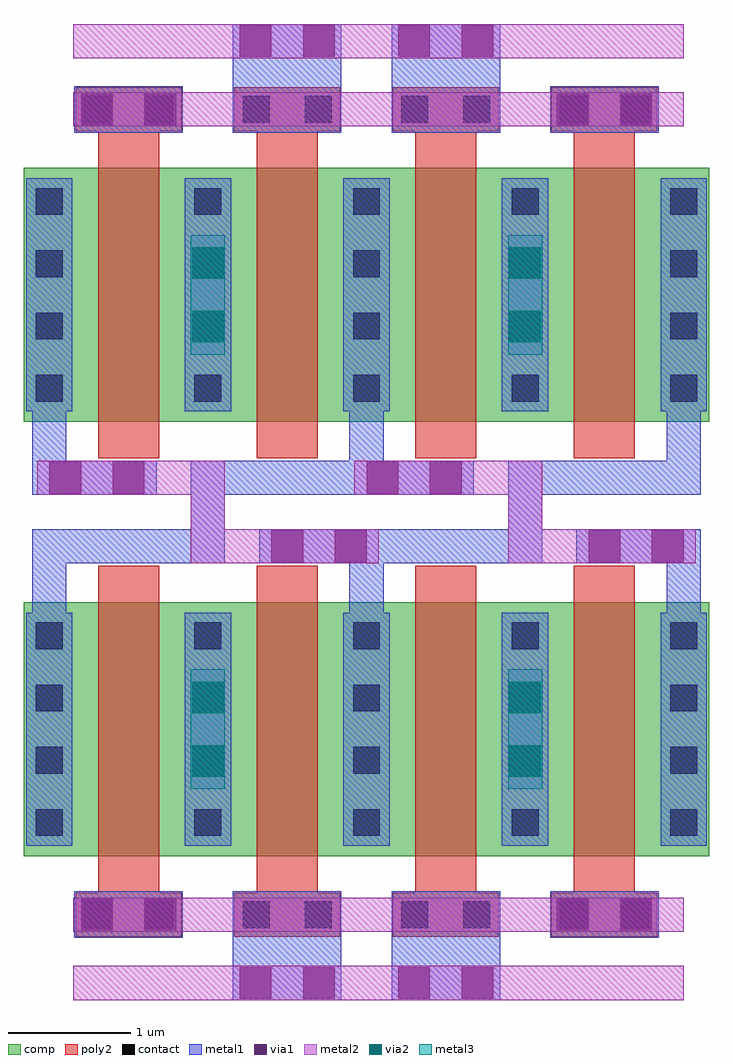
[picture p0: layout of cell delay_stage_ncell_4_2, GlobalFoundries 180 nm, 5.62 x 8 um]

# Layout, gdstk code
import gdstk
lib = gdstk.Library(unit=1e-6, precision=5e-09)
def R(c, l, rs):  # rectangles x0, y0, x1, y1
    for r in rs: c.add(gdstk.rectangle(r[:2], r[2:], *l))
def A(c, l, x, y, w, h, nx, ny, dx, dy):  # array of equal rectangles
    R(c, l, [(x+i*dx, y+j*dy, x+i*dx+w, y+j*dy+h) for i in range(nx) for j in range(ny)])
comp = (22, 0)
poly2 = (30, 0)
contact = (33, 0)
metal1 = (34, 0)
via1 = (35, 0)
metal2 = (36, 0)
via2 = (38, 0)
metal3 = (42, 0)

delay_stage_ncell_1_1 = lib.new_cell('delay_stage_ncell_1$1')
R(delay_stage_ncell_1_1, comp, [(0,0.3,0.42,2.38), (0.42,0.3,1.3,2.38), (1.3,0.3,1.72,2.38)])
R(delay_stage_ncell_1_1, poly2, [(0.61,0,1.11,2.68)])
A(delay_stage_ncell_1_1, contact, 0.1, 0.465, 0.22, 0.22, 1, 4, 0, 0.51)
A(delay_stage_ncell_1_1, contact, 1.4, 0.465, 0.22, 0.22, 1, 4, 0, 0.51)
R(delay_stage_ncell_1_1, metal1, [(0.02,0.385,0.4,2.295), (1.32,0.385,1.7,2.295)])

delay_stage_ncell_4 = lib.new_cell('delay_stage_ncell_4')
A(delay_stage_ncell_4, poly2, 0.425, 2.675, 0.87, 0.36, 4, 1, 1.3, 0)
R(delay_stage_ncell_4, contact, [(0.495,2.745,0.715,2.965), (1.005,2.745,1.225,2.965), (1.795,2.745,2.015,2.965), (2.305,2.745,2.525,2.965), (3.095,2.745,3.315,2.965), (3.605,2.745,3.825,2.965), (4.395,2.745,4.615,2.965), (4.905,2.745,5.125,2.965)])
A(delay_stage_ncell_4, metal1, 0.415, 2.665, 0.89, 0.38, 4, 1, 1.3, 0)
delay_stage_ncell_4.add(gdstk.Reference(delay_stage_ncell_1_1, (0,-0.005)))
delay_stage_ncell_4.add(gdstk.Reference(delay_stage_ncell_1_1, (1.3,-0.005)))
delay_stage_ncell_4.add(gdstk.Reference(delay_stage_ncell_1_1, (2.6,-0.005)))
delay_stage_ncell_4.add(gdstk.Reference(delay_stage_ncell_1_1, (3.9,-0.005)))

delay_stage_ncell_4_2 = lib.new_cell('delay_stage_ncell_4_2')
R(delay_stage_ncell_4_2, metal1, [(1.715,0,2.605,0.51), (3.015,0,3.905,0.51), (1.715,7.49,2.605,8), (3.015,7.49,3.905,8)])
R(delay_stage_ncell_4_2, via1, [(1.77,0.01,2.03,0.27), (2.29,0.01,2.55,0.27), (3.07,0.01,3.33,0.27), (3.59,0.01,3.85,0.27), (0.47,0.57,0.73,0.83), (0.99,0.57,1.25,0.83), (4.37,0.57,4.63,0.83), (4.89,0.57,5.15,0.83), (1.38,1.83,1.64,2.09), (3.98,1.83,4.24,2.09), (1.38,2.35,1.64,2.61), (3.98,2.35,4.24,2.61), (2.03,3.59,2.29,3.85), (2.55,3.59,2.81,3.85), (4.63,3.59,4.89,3.85), (5.15,3.59,5.41,3.85), (0.21,4.15,0.47,4.41), (0.73,4.15,0.99,4.41), (2.81,4.15,3.07,4.41), (3.33,4.15,3.59,4.41), (1.38,5.39,1.64,5.65), (3.98,5.39,4.24,5.65), (1.38,5.91,1.64,6.17), (3.98,5.91,4.24,6.17), (0.47,7.17,0.73,7.43), (0.99,7.17,1.25,7.43), (4.37,7.17,4.63,7.43), (4.89,7.17,5.15,7.43), (1.77,7.73,2.03,7.99), (2.29,7.73,2.55,7.99), (3.07,7.73,3.33,7.99), (3.59,7.73,3.85,7.99)])
R(delay_stage_ncell_4_2, via2, [(1.38,1.83,1.64,2.09), (3.98,1.83,4.24,2.09), (1.38,2.35,1.64,2.61), (3.98,2.35,4.24,2.61), (1.38,5.39,1.64,5.65), (3.98,5.39,4.24,5.65), (1.38,5.91,1.64,6.17), (3.98,5.91,4.24,6.17)])
delay_stage_ncell_4_2.add(gdstk.FlexPath([(2.81,4.825),(2.81,4.42)], 0.28, ends="flush", simple_path=True, layer=34, datatype=0))  # metal1
delay_stage_ncell_4_2.add(gdstk.FlexPath([(2.81,3.175),(2.81,3.58)], 0.28, ends="flush", simple_path=True, layer=34, datatype=0))  # metal1
delay_stage_ncell_4_2.add(gdstk.FlexPath([(0.21,3.175),(0.21,3.58)], 0.28, ends="flush", simple_path=True, layer=34, datatype=0))  # metal1
delay_stage_ncell_4_2.add(gdstk.FlexPath([(0.21,4.825),(0.21,4.42)], 0.28, ends="flush", simple_path=True, layer=34, datatype=0))  # metal1
delay_stage_ncell_4_2.add(gdstk.FlexPath([(2.91,4.28),(1.51,4.28),(1.51,3.72),(0.07,3.72)], 0.28, ends="flush", simple_path=True, layer=34, datatype=0))  # metal1
delay_stage_ncell_4_2.add(gdstk.FlexPath([(1.09,4.28),(0.07,4.28)], 0.28, ends="flush", simple_path=True, layer=34, datatype=0))  # metal1
delay_stage_ncell_4_2.add(gdstk.FlexPath([(5.41,3.175),(5.41,3.58)], 0.28, ends="flush", simple_path=True, layer=34, datatype=0))  # metal1
delay_stage_ncell_4_2.add(gdstk.FlexPath([(5.55,4.28),(4.11,4.28),(4.11,3.72),(2.71,3.72)], 0.28, ends="flush", simple_path=True, layer=34, datatype=0))  # metal1
delay_stage_ncell_4_2.add(gdstk.FlexPath([(3.69,4.28),(2.71,4.28)], 0.28, ends="flush", simple_path=True, layer=34, datatype=0))  # metal1
delay_stage_ncell_4_2.add(gdstk.FlexPath([(5.41,4.825),(5.41,4.42)], 0.28, ends="flush", simple_path=True, layer=34, datatype=0))  # metal1
delay_stage_ncell_4_2.add(gdstk.FlexPath([(2.81,3.175),(2.81,3.58)], 0.28, ends="flush", simple_path=True, layer=34, datatype=0))  # metal1
delay_stage_ncell_4_2.add(gdstk.FlexPath([(5.55,3.72),(4.53,3.72)], 0.28, ends="flush", simple_path=True, layer=34, datatype=0))  # metal1
delay_stage_ncell_4_2.add(gdstk.FlexPath([(2.81,4.825),(2.81,4.42)], 0.28, ends="flush", simple_path=True, layer=34, datatype=0))  # metal1
delay_stage_ncell_4_2.add(gdstk.FlexPath([(2.91,3.72),(1.93,3.72)], 0.28, ends="flush", simple_path=True, layer=34, datatype=0))  # metal1
delay_stage_ncell_4_2.add(gdstk.FlexPath([(5.41,7.3),(0.405,7.3)], 0.28, ends="flush", simple_path=True, layer=36, datatype=0))  # metal2
delay_stage_ncell_4_2.add(gdstk.FlexPath([(5.41,7.86),(0.405,7.86)], 0.28, ends="flush", simple_path=True, layer=36, datatype=0))  # metal2
delay_stage_ncell_4_2.add(gdstk.FlexPath([(5.41,0.7),(0.405,0.7)], 0.28, ends="flush", simple_path=True, layer=36, datatype=0))  # metal2
delay_stage_ncell_4_2.add(gdstk.FlexPath([(5.41,0.14),(0.405,0.14)], 0.28, ends="flush", simple_path=True, layer=36, datatype=0))  # metal2
delay_stage_ncell_4_2.add(gdstk.FlexPath([(4.11,5.29),(4.11,6.27)], 0.28, ends="flush", simple_path=True, layer=36, datatype=0))  # metal2
delay_stage_ncell_4_2.add(gdstk.FlexPath([(1.51,5.29),(1.51,6.27)], 0.28, ends="flush", simple_path=True, layer=36, datatype=0))  # metal2
delay_stage_ncell_4_2.add(gdstk.FlexPath([(4.11,1.73),(4.11,2.71)], 0.28, ends="flush", simple_path=True, layer=36, datatype=0))  # metal2
delay_stage_ncell_4_2.add(gdstk.FlexPath([(1.51,1.73),(1.51,2.71)], 0.28, ends="flush", simple_path=True, layer=36, datatype=0))  # metal2
delay_stage_ncell_4_2.add(gdstk.FlexPath([(2.91,3.72),(1.51,3.72),(1.51,4.28),(0.11,4.28)], 0.28, ends="flush", simple_path=True, layer=36, datatype=0))  # metal2
delay_stage_ncell_4_2.add(gdstk.FlexPath([(5.51,3.72),(4.11,3.72),(4.11,4.28),(2.71,4.28)], 0.28, ends="flush", simple_path=True, layer=36, datatype=0))  # metal2
delay_stage_ncell_4_2.add(gdstk.FlexPath([(4.11,5.29),(4.11,6.27)], 0.28, ends="flush", simple_path=True, layer=42, datatype=0))  # metal3
delay_stage_ncell_4_2.add(gdstk.FlexPath([(1.51,5.29),(1.51,6.27)], 0.28, ends="flush", simple_path=True, layer=42, datatype=0))  # metal3
delay_stage_ncell_4_2.add(gdstk.FlexPath([(4.11,1.73),(4.11,2.71)], 0.28, ends="flush", simple_path=True, layer=42, datatype=0))  # metal3
delay_stage_ncell_4_2.add(gdstk.FlexPath([(1.51,1.73),(1.51,2.71)], 0.28, ends="flush", simple_path=True, layer=42, datatype=0))  # metal3
delay_stage_ncell_4_2.add(gdstk.Reference(delay_stage_ncell_4, (0,3.555), x_reflection=True))
delay_stage_ncell_4_2.add(gdstk.Reference(delay_stage_ncell_4, (0,4.445)))

lib.write_gds('delay_stage_ncell_4_2.gds')
